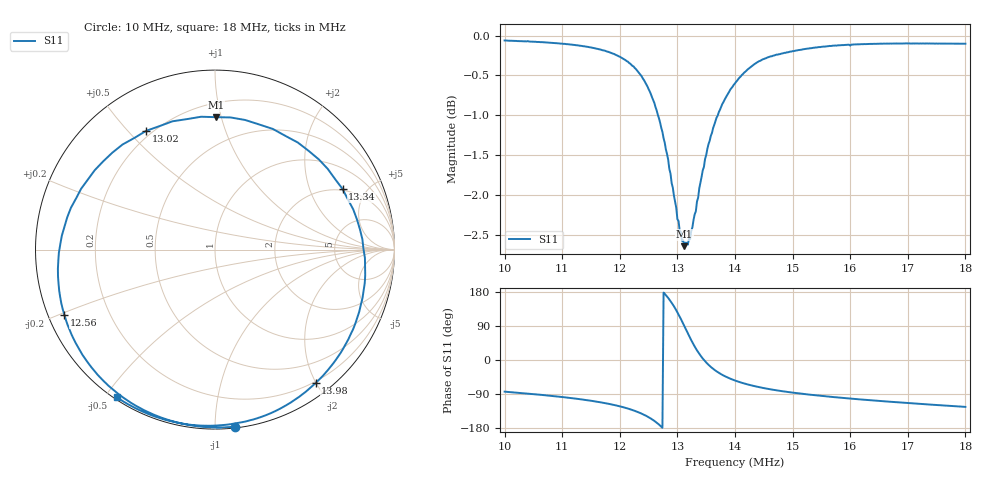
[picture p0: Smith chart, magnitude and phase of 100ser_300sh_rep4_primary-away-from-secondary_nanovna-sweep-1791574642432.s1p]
! NanoVNA Web complex sweep
! Processing: original sample grid, no browser smoothing
# Hz S RI R 50
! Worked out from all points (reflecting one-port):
!   401 points, 10 MHz to 18 MHz, reference 50 ohm
!   lowest |S11| = -2.6 dB at 13.12 MHz (marker M1), VSWR 6.63, Z = 14.9 + j48.2 ohm
!   phase of S11 starts at -84 deg and turns -400 deg over the sweep
!   S11 on the Smith chart (normalised r, x): 10 MHz: 0.01, -1.12; 12.56 MHz: 0.05, -0.21; 13.02 MHz: 0.18, +0.56; 13.34 MHz: 1.92, +3.41; 13.98 MHz: 0.18, -1.99; 18 MHz: 0.01, -0.53
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1e7  0.1121 -0.9865
1.1e7  -0.1325 -0.9793
1.158e7  -0.3267 -0.9254
1.2e7  -0.5172 -0.8204
1.232e7  -0.7018 -0.6383
1.244e7  -0.7749 -0.5227
1.256e7  -0.8394 -0.3633
1.27e7  -0.8753 -0.1071
1.282e7  -0.8233 0.1801
1.292e7  -0.6699 0.4426
1.3e7  -0.4478 0.6228
1.302e7  -0.3849 0.6611
1.312e7  0.00637 0.7378
1.316e7  0.1685 0.722
1.322e7  0.3923 0.6335
1.328e7  0.5787 0.5023
1.334e7  0.7106 0.338
1.34e7  0.791 0.1679
1.346e7  0.827 0.00515
1.364e7  0.7928 -0.3796
1.38e7  0.6866 -0.5949
1.398e7  0.5603 -0.7441
1.4e7  0.5463 -0.7566
1.44e7  0.3129 -0.9105
1.5e7  0.0669 -0.9754
1.6e7  -0.2023 -0.9646
1.7e7  -0.3952 -0.9062
1.8e7  -0.5486 -0.8219
